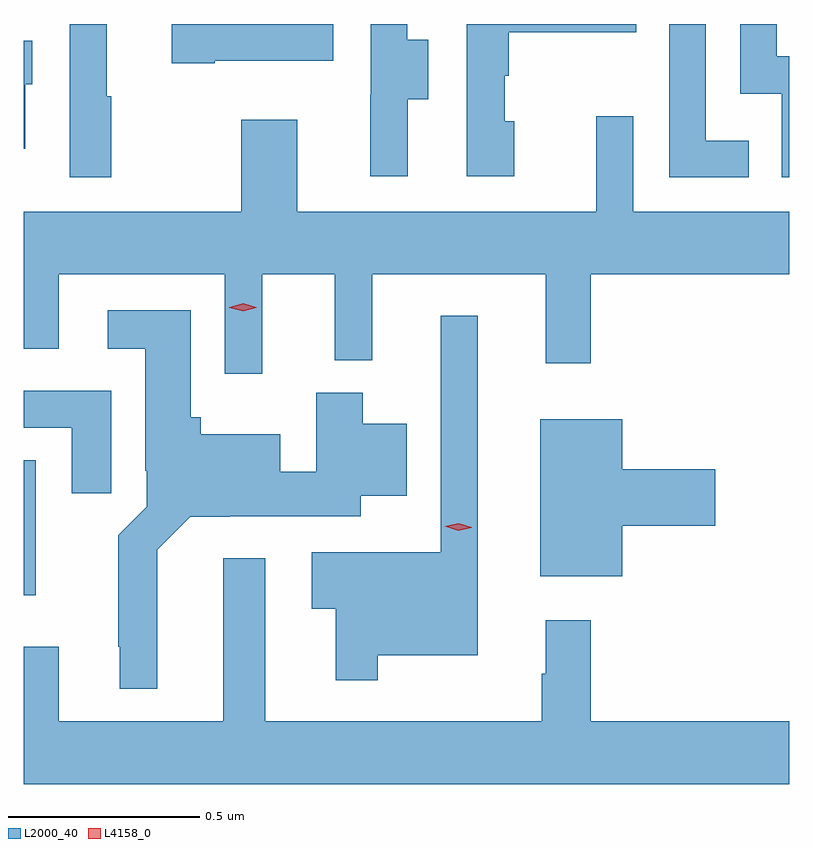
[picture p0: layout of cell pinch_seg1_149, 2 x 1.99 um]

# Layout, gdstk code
import gdstk
lib = gdstk.Library(unit=1e-6, precision=1e-09)
def R(c, l, rs):  # rectangles x0, y0, x1, y1
    for r in rs: c.add(gdstk.rectangle(r[:2], r[2:], *l))
def P(c, l, *ps):  # polygons
    for p in ps: c.add(gdstk.Polygon(p, *l))
L2000_40 = (2000, 40)
L4158_0 = (4158, 0)

pinch_seg1_149 = lib.new_cell('pinch_seg1_149')
R(pinch_seg1_149, L2000_40, [(1115.64,544.233,1115.671,544.586)])
P(pinch_seg1_149, L2000_40, [(1117.535,545.421),(1117.422,545.421),(1117.422,545.726),(1117.326,545.726),(1117.326,545.325),(1117.535,545.325)],
  [(1117.64,545.642),(1117.608,545.642),(1117.608,545.726),(1117.512,545.726),(1117.512,545.544),(1117.62,545.544),(1117.62,545.325),(1117.64,545.325)],
  [(1116.922,545.472),(1116.897,545.472),(1116.897,545.591),(1116.907,545.591),(1116.907,545.705),(1117.241,545.705),(1117.241,545.726),(1116.798,545.726),(1116.798,545.328),(1116.922,545.328)],
  [(1116.139,545.63),(1116.449,545.63),(1116.449,545.726),(1116.027,545.726),(1116.027,545.623),(1116.139,545.623)],
  [(1115.869,545.537),(1115.857,545.537),(1115.857,545.726),(1115.76,545.726),(1115.76,545.325),(1115.869,545.325)],
  [(1116.643,545.53),(1116.697,545.53),(1116.697,545.685),(1116.642,545.685),(1116.642,545.726),(1116.546,545.726),(1116.546,545.541),(1116.545,545.541),(1116.545,545.328),(1116.643,545.328)],
  [(1115.644,545.568),(1115.662,545.568),(1115.662,545.682),(1115.64,545.682),(1115.64,545.4),(1115.644,545.4)],
  [(1116.263,545.072),(1116.452,545.072),(1116.452,544.847),(1116.551,544.847),(1116.551,545.072),(1117.004,545.072),(1117.004,544.839),(1117.121,544.839),(1117.121,545.072),(1117.64,545.072),(1117.64,545.236),(1117.233,545.236),(1117.233,545.485),(1117.136,545.485),(1117.136,545.236),(1116.355,545.236),(1116.355,545.476),(1116.208,545.476),(1116.208,545.236),(1115.64,545.236),(1115.64,544.878),(1115.731,544.878),(1115.731,545.072),(1116.165,545.072),(1116.165,544.812),(1116.263,544.812)],
  [(1115.989,544.352),(1116.075,544.439),(1116.178,544.439),(1116.178,544.44),(1116.52,544.44),(1116.52,544.493),(1116.64,544.493),(1116.64,544.681),(1116.526,544.681),(1116.526,544.762),(1116.404,544.762),(1116.404,544.556),(1116.31,544.556),(1116.31,544.654),(1116.102,544.654),(1116.102,544.698),(1116.076,544.698),(1116.076,544.978),(1115.859,544.978),(1115.859,544.877),(1115.957,544.877),(1115.957,544.558),(1115.961,544.558),(1115.961,544.464),(1115.887,544.39),(1115.887,544.099),(1115.891,544.099),(1115.891,543.989),(1115.989,543.989)],
  [(1116.565,544.076),(1116.826,544.076),(1116.826,544.963),(1116.729,544.963),(1116.729,544.345),(1116.392,544.345),(1116.392,544.198),(1116.455,544.198),(1116.455,544.011),(1116.565,544.011)],
  [(1115.869,544.767),(1115.64,544.767),(1115.64,544.671),(1115.765,544.671),(1115.765,544.5),(1115.869,544.5)],
  [(1117.204,544.415),(1117.447,544.415),(1117.447,544.562),(1117.204,544.562),(1117.204,544.693),(1116.989,544.693),(1116.989,544.283),(1117.204,544.283)],
  [(1117.64,543.904),(1117.121,543.904),(1117.121,544.168),(1117.004,544.168),(1117.004,544.028),(1116.993,544.028),(1116.993,543.904),(1116.271,543.904),(1116.271,544.33),(1116.161,544.33),(1116.161,543.904),(1115.731,543.904),(1115.731,544.099),(1115.64,544.099),(1115.64,543.74),(1117.64,543.74)])
P(pinch_seg1_149, L4158_0, [(1116.213,544.976),(1116.177,544.985),(1116.177,544.986),(1116.177,544.986),(1116.213,544.996),(1116.248,544.986),(1116.248,544.986),(1116.248,544.985)],
  [(1116.775,544.402),(1116.74,544.414),(1116.739,544.414),(1116.74,544.414),(1116.776,544.422),(1116.811,544.411),(1116.811,544.411),(1116.811,544.41)])

lib.write_gds('pinch_seg1_149.gds')
